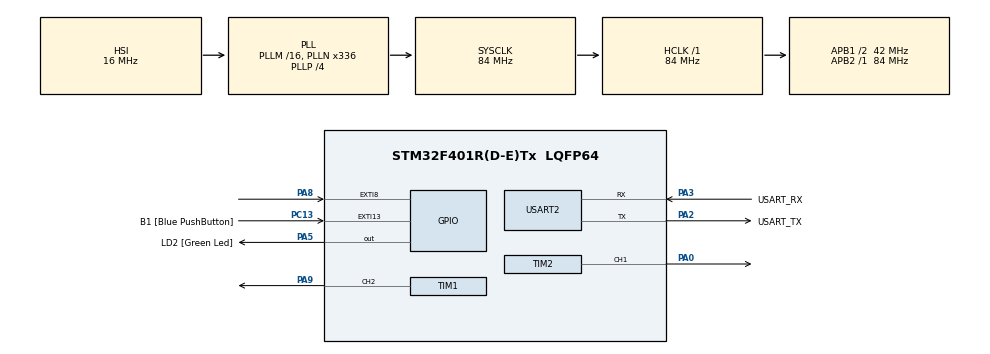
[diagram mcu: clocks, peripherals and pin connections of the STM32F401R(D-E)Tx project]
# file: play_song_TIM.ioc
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Mcu.Family=STM32F4
Mcu.Name=STM32F401R(D-E)Tx
Mcu.Package=LQFP64
NVIC.EXTI9_5_IRQn=true\:0\:0\:false\:false\:true\:true\:true\:true
NVIC.PriorityGroup=NVIC_PRIORITYGROUP_0
NVIC.TIM2_IRQn=true\:0\:0\:false\:false\:true\:true\:true\:true
PA0-WKUP.Signal=S_TIM2_CH1_ETR
PA13.GPIO_Label=TMS
PA13.Mode=Serial_Wire
PA13.Signal=SYS_JTMS-SWDIO
PA14.GPIO_Label=TCK
PA14.Mode=Serial_Wire
PA14.Signal=SYS_JTCK-SWCLK
PA2.GPIO_Label=USART_TX
PA2.GPIO_Mode=GPIO_MODE_AF_PP
PA2.GPIO_PuPd=GPIO_NOPULL
PA2.GPIO_Speed=GPIO_SPEED_FREQ_LOW
PA2.Mode=Asynchronous
PA2.Signal=USART2_TX
PA3.GPIO_Label=USART_RX
PA3.GPIO_Mode=GPIO_MODE_AF_PP
PA3.GPIO_PuPd=GPIO_NOPULL
PA3.GPIO_Speed=GPIO_SPEED_FREQ_LOW
PA3.Mode=Asynchronous
PA3.Signal=USART2_RX
PA5.GPIO_Label=LD2 [Green Led]
PA5.GPIO_Mode=GPIO_MODE_OUTPUT_PP
PA5.GPIO_PuPd=GPIO_NOPULL
PA5.GPIO_Speed=GPIO_SPEED_FREQ_LOW
PA5.Signal=GPIO_Output
PA8.Signal=GPXTI8
PA9.Signal=S_TIM1_CH2
PB3.GPIO_Label=SWO
PB3.Signal=SYS_JTDO-SWO
PC13-ANTI_TAMP.GPIO_Label=B1 [Blue PushButton]
PC13-ANTI_TAMP.GPIO_ModeDefaultEXTI=GPIO_MODE_IT_FALLING
PC13-ANTI_TAMP.GPIO_PuPd=GPIO_NOPULL
PC13-ANTI_TAMP.Signal=GPXTI13
PC14-OSC32_IN.Mode=LSE-External-Oscillator
PC14-OSC32_IN.Signal=RCC_OSC32_IN
PC15-OSC32_OUT.Mode=LSE-External-Oscillator
PC15-OSC32_OUT.Signal=RCC_OSC32_OUT
PH0\ -\ OSC_IN.Mode=HSE-External-Clock-Source
PH0\ -\ OSC_IN.Signal=RCC_OSC_IN
PH1\ -\ OSC_OUT.Mode=HSE-External-Clock-Source
PH1\ -\ OSC_OUT.Signal=RCC_OSC_OUT
ProjectManager.HeapSize=0x200
ProjectManager.StackSize=0x400
ProjectManager.TargetToolchain=STM32CubeIDE
RCC.48MHZClocksFreq_Value=48000000
RCC.AHBFreq_Value=84000000
RCC.APB1CLKDivider=RCC_HCLK_DIV2
RCC.APB1Freq_Value=42000000
RCC.APB1TimFreq_Value=84000000
RCC.APB2Freq_Value=84000000
RCC.APB2TimFreq_Value=84000000
RCC.CortexFreq_Value=84000000
RCC.HCLKFreq_Value=84000000
RCC.HSE_VALUE=8000000
RCC.HSI_VALUE=16000000
RCC.PLLN=336
RCC.PLLP=RCC_PLLP_DIV4
RCC.PLLQ=7
RCC.SYSCLKFreq_VALUE=84000000
RCC.SYSCLKSource=RCC_SYSCLKSOURCE_PLLCLK
RCC.VCOOutputFreq_Value=336000000
SH.S_TIM1_CH2.0=TIM1_CH2,PWM Generation2 CH2
SH.S_TIM2_CH1_ETR.0=TIM2_CH1,PWM Generation1 CH1
TIM1.Channel-PWM\ Generation2\ CH2=TIM_CHANNEL_2
TIM1.Period=0
TIM1.Prescaler=99
TIM2.Channel-PWM\ Generation1\ CH1=TIM_CHANNEL_1
TIM2.Period=5208 - 1
TIM2.Prescaler=1000-1
TIM2.Pulse-PWM\ Generation1\ CH1=31
USART2.VirtualMode=VM_ASYNC
VP_TIM1_VS_ClockSourceINT.Mode=Internal
VP_TIM2_VS_ClockSourceINT.Mode=Internal
board=NUCLEO-F401RE

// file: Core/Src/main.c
/* USER CODE BEGIN Header */
/**
  ******************************************************************************
  * @file           : main.c
  * @brief          : Main program body
  ******************************************************************************
  * @attention
  *
  * Copyright (c) 2025 STMicroelectronics.
  * All rights reserved.
  *
  * This software is licensed under terms that can be found in the LICENSE file
  * in the root directory of this software component.
  * If no LICENSE file comes with this software, it is provided AS-IS.
  *
  ******************************************************************************
  */
/* USER CODE END Header */
#include "main.h"

/* USER CODE BEGIN PD */
#define _DO4P 1603
#define _DOH4P 1516
#define _RE4P 1429
#define _REH4P 1350
#define _MI4P 1273
#define _FA4P 1203
#define _FAH4P 1135
#define _SOL4P 1071
#define _SOLH4P 1012
#define _LA4P 955
#define _LAH4P 901
#define _SI4P 850
/* USER CODE END PD */

TIM_HandleTypeDef htim1;
TIM_HandleTypeDef htim2;

UART_HandleTypeDef huart2;

void SystemClock_Config(void);
static void MX_GPIO_Init(void);
static void MX_USART2_UART_Init(void);
static void MX_TIM1_Init(void);
static void MX_TIM2_Init(void);

/* USER CODE BEGIN 0 */
struct song {
	  int note;
	  int duration;
}t_song;

struct song london_bridge[] = {
		  {_SOL4P, 6},
		  {_LA4P, 2},
		  {_SOL4P, 4},
		  {_FA4P, 4},
		  {_MI4P, 4},
		  {_FA4P, 4},
		  {_SOL4P, 8},
		  {_RE4P, 4},
		  {_MI4P, 4},
		  {_FA4P, 8},
		  {_MI4P, 4},
		  {_FA4P, 4},
		  {_SOL4P, 8},
		  {_SOL4P, 6},
		  {_LA4P, 2},
		  {_SOL4P, 4},
		  {_FA4P, 4},
		  {_MI4P, 4},
		  {_FA4P, 4},
		  {_SOL4P, 8},
		  {_RE4P, 8},
		  {_SOL4P, 8},
		  {_MI4P, 4},
		  {_DO4P, 12},
};

int playing, index_note, index_duration, length;

void set_note(int pulse){
	  TIM_OC_InitTypeDef sConfigOC = {0};

	  htim1.Init.Prescaler = 99;
	  htim1.Init.Period = pulse * 2;

	  if (HAL_TIM_Base_Init(&htim1) != HAL_OK)
	  {
	    Error_Handler();
	  }

	  sConfigOC.OCMode = TIM_OCMODE_PWM1;
	  sConfigOC.Pulse = pulse;
	  sConfigOC.OCPolarity = TIM_OCPOLARITY_HIGH;
	  sConfigOC.OCNPolarity = TIM_OCNPOLARITY_HIGH;
	  sConfigOC.OCFastMode = TIM_OCFAST_DISABLE;
	  sConfigOC.OCIdleState = TIM_OCIDLESTATE_RESET;
	  sConfigOC.OCNIdleState = TIM_OCNIDLESTATE_RESET;
	  if (HAL_TIM_PWM_ConfigChannel(&htim1, &sConfigOC, TIM_CHANNEL_2) != HAL_OK)
	  {
	    Error_Handler();
	  }

}

void start_note(){
	if(index_note >= length){
		index_note = 0;
		playing = 0;
		return;
	}
	set_note(london_bridge[index_note].note);
	HAL_TIM_PWM_Start(&htim1, TIM_CHANNEL_2);
}

void stop_note(){
	if(index_duration >= london_bridge[index_note].duration - 1){
		index_duration = 0;
		index_note++;
		HAL_TIM_PWM_Stop(&htim1, TIM_CHANNEL_2);
		start_note();
	}else{
		index_duration++;
	}
}

void HAL_GPIO_EXTI_Callback(uint16_t GPIO_Pin)
{
	if (GPIO_Pin == GPIO_PIN_8 && playing == 0) {
		playing = 1;
		start_note();
	}
}

void HAL_TIM_PeriodElapsedCallback(TIM_HandleTypeDef *htim)
{
	if (htim == &htim2 && playing == 1)
		stop_note();
}

/* USER CODE END 0 */

int main(void)
{

  /* MCU Configuration--------------------------------------------------------*/

  /* Reset of all peripherals, Initializes the Flash interface and the Systick. */
  HAL_Init();

  /* Configure the system clock */
  SystemClock_Config();

  /* Initialize all configured peripherals */
  MX_GPIO_Init();
  MX_USART2_UART_Init();
  MX_TIM1_Init();
  MX_TIM2_Init();
  /* USER CODE BEGIN 2 */
  playing = 0;
  	length = sizeof(london_bridge)/sizeof(t_song);
  	index_note = 0;
  	index_duration = 0;
  HAL_TIM_Base_Start_IT(&htim2);

  /* USER CODE END 2 */

  /* Infinite loop */
  while (1)
  {

  }
}

void SystemClock_Config(void)
{
  RCC_OscInitTypeDef RCC_OscInitStruct = {0};
  RCC_ClkInitTypeDef RCC_ClkInitStruct = {0};

  /** Configure the main internal regulator output voltage
  */
  __HAL_RCC_PWR_CLK_ENABLE();
  __HAL_PWR_VOLTAGESCALING_CONFIG(PWR_REGULATOR_VOLTAGE_SCALE2);

  /** Initializes the RCC Oscillators according to the specified parameters
  * in the RCC_OscInitTypeDef structure.
  */
  RCC_OscInitStruct.OscillatorType = RCC_OSCILLATORTYPE_HSI;
  RCC_OscInitStruct.HSIState = RCC_HSI_ON;
  RCC_OscInitStruct.HSICalibrationValue = RCC_HSICALIBRATION_DEFAULT;
  RCC_OscInitStruct.PLL.PLLState = RCC_PLL_ON;
  RCC_OscInitStruct.PLL.PLLSource = RCC_PLLSOURCE_HSI;
  RCC_OscInitStruct.PLL.PLLM = 16;
  RCC_OscInitStruct.PLL.PLLN = 336;
  RCC_OscInitStruct.PLL.PLLP = RCC_PLLP_DIV4;
  RCC_OscInitStruct.PLL.PLLQ = 7;
  if (HAL_RCC_OscConfig(&RCC_OscInitStruct) != HAL_OK)
  {
    Error_Handler();
  }

  /** Initializes the CPU, AHB and APB buses clocks
  */
  RCC_ClkInitStruct.ClockType = RCC_CLOCKTYPE_HCLK|RCC_CLOCKTYPE_SYSCLK
                              |RCC_CLOCKTYPE_PCLK1|RCC_CLOCKTYPE_PCLK2;
  RCC_ClkInitStruct.SYSCLKSource = RCC_SYSCLKSOURCE_PLLCLK;
  RCC_ClkInitStruct.AHBCLKDivider = RCC_SYSCLK_DIV1;
  RCC_ClkInitStruct.APB1CLKDivider = RCC_HCLK_DIV2;
  RCC_ClkInitStruct.APB2CLKDivider = RCC_HCLK_DIV1;

  if (HAL_RCC_ClockConfig(&RCC_ClkInitStruct, FLASH_LATENCY_2) != HAL_OK)
  {
    Error_Handler();
  }
}

static void MX_TIM1_Init(void)
{

  TIM_ClockConfigTypeDef sClockSourceConfig = {0};
  TIM_MasterConfigTypeDef sMasterConfig = {0};
  TIM_OC_InitTypeDef sConfigOC = {0};
  TIM_BreakDeadTimeConfigTypeDef sBreakDeadTimeConfig = {0};

  htim1.Instance = TIM1;
  htim1.Init.Prescaler = 99;
  htim1.Init.CounterMode = TIM_COUNTERMODE_UP;
  htim1.Init.Period = 0;
  htim1.Init.ClockDivision = TIM_CLOCKDIVISION_DIV1;
  htim1.Init.RepetitionCounter = 0;
  htim1.Init.AutoReloadPreload = TIM_AUTORELOAD_PRELOAD_DISABLE;
  if (HAL_TIM_Base_Init(&htim1) != HAL_OK)
  {
    Error_Handler();
  }
  sClockSourceConfig.ClockSource = TIM_CLOCKSOURCE_INTERNAL;
  if (HAL_TIM_ConfigClockSource(&htim1, &sClockSourceConfig) != HAL_OK)
  {
    Error_Handler();
  }
  if (HAL_TIM_PWM_Init(&htim1) != HAL_OK)
  {
    Error_Handler();
  }
  sMasterConfig.MasterOutputTrigger = TIM_TRGO_RESET;
  sMasterConfig.MasterSlaveMode = TIM_MASTERSLAVEMODE_DISABLE;
  if (HAL_TIMEx_MasterConfigSynchronization(&htim1, &sMasterConfig) != HAL_OK)
  {
    Error_Handler();
  }
  sConfigOC.OCMode = TIM_OCMODE_PWM1;
  sConfigOC.Pulse = 0;
  sConfigOC.OCPolarity = TIM_OCPOLARITY_HIGH;
  sConfigOC.OCNPolarity = TIM_OCNPOLARITY_HIGH;
  sConfigOC.OCFastMode = TIM_OCFAST_DISABLE;
  sConfigOC.OCIdleState = TIM_OCIDLESTATE_RESET;
  sConfigOC.OCNIdleState = TIM_OCNIDLESTATE_RESET;
  if (HAL_TIM_PWM_ConfigChannel(&htim1, &sConfigOC, TIM_CHANNEL_2) != HAL_OK)
  {
    Error_Handler();
  }
  sBreakDeadTimeConfig.OffStateRunMode = TIM_OSSR_DISABLE;
  sBreakDeadTimeConfig.OffStateIDLEMode = TIM_OSSI_DISABLE;
  sBreakDeadTimeConfig.LockLevel = TIM_LOCKLEVEL_OFF;
  sBreakDeadTimeConfig.DeadTime = 0;
  sBreakDeadTimeConfig.BreakState = TIM_BREAK_DISABLE;
  sBreakDeadTimeConfig.BreakPolarity = TIM_BREAKPOLARITY_HIGH;
  sBreakDeadTimeConfig.AutomaticOutput = TIM_AUTOMATICOUTPUT_DISABLE;
  if (HAL_TIMEx_ConfigBreakDeadTime(&htim1, &sBreakDeadTimeConfig) != HAL_OK)
  {
    Error_Handler();
  }
  HAL_TIM_MspPostInit(&htim1);

}

static void MX_TIM2_Init(void)
{

  TIM_ClockConfigTypeDef sClockSourceConfig = {0};
  TIM_MasterConfigTypeDef sMasterConfig = {0};
  TIM_OC_InitTypeDef sConfigOC = {0};

  htim2.Instance = TIM2;
  htim2.Init.Prescaler = 1000-1;
  htim2.Init.CounterMode = TIM_COUNTERMODE_UP;
  htim2.Init.Period = 5208 - 1;
  htim2.Init.ClockDivision = TIM_CLOCKDIVISION_DIV1;
  htim2.Init.AutoReloadPreload = TIM_AUTORELOAD_PRELOAD_DISABLE;
  if (HAL_TIM_Base_Init(&htim2) != HAL_OK)
  {
    Error_Handler();
  }
  sClockSourceConfig.ClockSource = TIM_CLOCKSOURCE_INTERNAL;
  if (HAL_TIM_ConfigClockSource(&htim2, &sClockSourceConfig) != HAL_OK)
  {
    Error_Handler();
  }
  if (HAL_TIM_PWM_Init(&htim2) != HAL_OK)
  {
    Error_Handler();
  }
  sMasterConfig.MasterOutputTrigger = TIM_TRGO_RESET;
  sMasterConfig.MasterSlaveMode = TIM_MASTERSLAVEMODE_DISABLE;
  if (HAL_TIMEx_MasterConfigSynchronization(&htim2, &sMasterConfig) != HAL_OK)
  {
    Error_Handler();
  }
  sConfigOC.OCMode = TIM_OCMODE_PWM1;
  sConfigOC.Pulse = 31;
  sConfigOC.OCPolarity = TIM_OCPOLARITY_HIGH;
  sConfigOC.OCFastMode = TIM_OCFAST_DISABLE;
  if (HAL_TIM_PWM_ConfigChannel(&htim2, &sConfigOC, TIM_CHANNEL_1) != HAL_OK)
  {
    Error_Handler();
  }
  HAL_TIM_MspPostInit(&htim2);

}

static void MX_USART2_UART_Init(void)
{

  huart2.Instance = USART2;
  huart2.Init.BaudRate = 115200;
  huart2.Init.WordLength = UART_WORDLENGTH_8B;
  huart2.Init.StopBits = UART_STOPBITS_1;
  huart2.Init.Parity = UART_PARITY_NONE;
  huart2.Init.Mode = UART_MODE_TX_RX;
  huart2.Init.HwFlowCtl = UART_HWCONTROL_NONE;
  huart2.Init.OverSampling = UART_OVERSAMPLING_16;
  if (HAL_UART_Init(&huart2) != HAL_OK)
  {
    Error_Handler();
  }

}

static void MX_GPIO_Init(void)
{
  GPIO_InitTypeDef GPIO_InitStruct = {0};

  /* GPIO Ports Clock Enable */
  __HAL_RCC_GPIOC_CLK_ENABLE();
  __HAL_RCC_GPIOH_CLK_ENABLE();
  __HAL_RCC_GPIOA_CLK_ENABLE();
  __HAL_RCC_GPIOB_CLK_ENABLE();

  /*Configure GPIO pin Output Level */
  HAL_GPIO_WritePin(LD2_GPIO_Port, LD2_Pin, GPIO_PIN_RESET);

  /*Configure GPIO pin : B1_Pin */
  GPIO_InitStruct.Pin = B1_Pin;
  GPIO_InitStruct.Mode = GPIO_MODE_IT_FALLING;
  GPIO_InitStruct.Pull = GPIO_NOPULL;
  HAL_GPIO_Init(B1_GPIO_Port, &GPIO_InitStruct);

  /*Configure GPIO pin : LD2_Pin */
  GPIO_InitStruct.Pin = LD2_Pin;
  GPIO_InitStruct.Mode = GPIO_MODE_OUTPUT_PP;
  GPIO_InitStruct.Pull = GPIO_NOPULL;
  GPIO_InitStruct.Speed = GPIO_SPEED_FREQ_LOW;
  HAL_GPIO_Init(LD2_GPIO_Port, &GPIO_InitStruct);

  /*Configure GPIO pin : PA8 */
  GPIO_InitStruct.Pin = GPIO_PIN_8;
  GPIO_InitStruct.Mode = GPIO_MODE_IT_RISING;
  GPIO_InitStruct.Pull = GPIO_NOPULL;
  HAL_GPIO_Init(GPIOA, &GPIO_InitStruct);

  /* EXTI interrupt init*/
  HAL_NVIC_SetPriority(EXTI9_5_IRQn, 0, 0);
  HAL_NVIC_EnableIRQ(EXTI9_5_IRQn);

}

void Error_Handler(void)
{
  __disable_irq();
  while (1)
  {
  }
}
